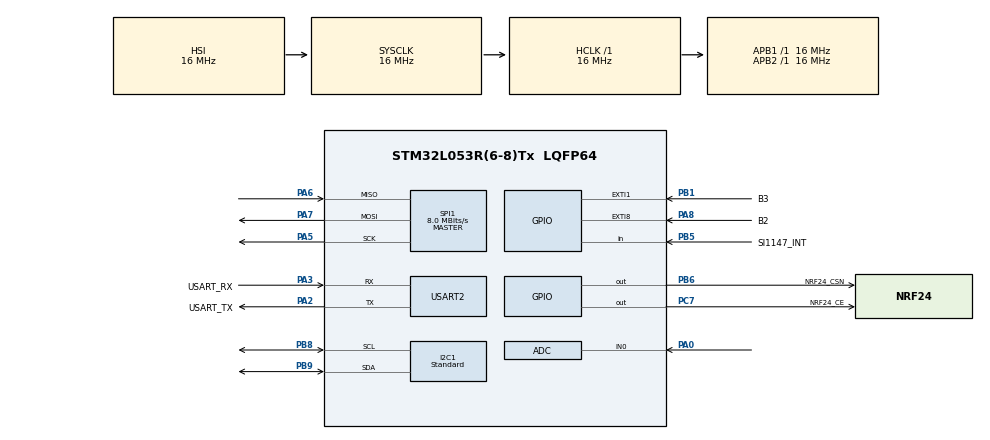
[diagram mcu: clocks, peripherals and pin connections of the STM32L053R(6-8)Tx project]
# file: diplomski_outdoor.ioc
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ADC.ClockPrescaler=ADC_CLOCK_ASYNC_DIV64
ADC.OversamplingMode=ENABLE
ADC.Ratio=ADC_OVERSAMPLING_RATIO_16
ADC.RightBitShift=ADC_RIGHTBITSHIFT_4
I2C1.I2C_Speed_Mode=I2C_Standard
I2C1.Speed=100
I2C1.Timing=0x00303D5B
Mcu.Family=STM32L0
Mcu.Name=STM32L053R(6-8)Tx
Mcu.Package=LQFP64
NVIC.EXTI0_1_IRQn=true\:0\:0\:false\:false\:true\:true\:true
NVIC.EXTI4_15_IRQn=true\:0\:0\:false\:false\:true\:true\:true
NVIC.RTC_IRQn=true\:0\:0\:false\:false\:true\:true\:true
PA0.Signal=SharedAnalog_PA0
PA13.GPIO_Label=TMS
PA13.Mode=Serial_Wire
PA13.Signal=SYS_SWDIO
PA14.GPIO_Label=TCK
PA14.Mode=Serial_Wire
PA14.Signal=SYS_SWCLK
PA2.GPIO_Label=USART_TX
PA2.Mode=Asynchronous
PA2.Signal=USART2_TX
PA3.GPIO_Label=USART_RX
PA3.Mode=Asynchronous
PA3.Signal=USART2_RX
PA5.Mode=Full_Duplex_Master
PA5.Signal=SPI1_SCK
PA6.Mode=Full_Duplex_Master
PA6.Signal=SPI1_MISO
PA7.Mode=Full_Duplex_Master
PA7.Signal=SPI1_MOSI
PA8.GPIO_Label=B2
PA8.GPIO_ModeDefaultEXTI=GPIO_MODE_IT_FALLING
PA8.GPIO_PuPd=GPIO_PULLUP
PA8.Signal=GPXTI8
PB1.GPIO_Label=B3
PB1.GPIO_ModeDefaultEXTI=GPIO_MODE_IT_FALLING
PB1.GPIO_PuPd=GPIO_PULLUP
PB1.Signal=GPXTI1
PB5.GPIO_Label=SI1147_INT
PB5.GPIO_PuPd=GPIO_PULLUP
PB5.Signal=GPIO_Input
PB6.GPIO_Label=NRF24_CSN
PB6.Signal=GPIO_Output
PB8.GPIO_FM8=__NULL
PB8.GPIO_PuPdOD=GPIO_NOPULL
PB8.Mode=I2C
PB8.Signal=I2C1_SCL
PB9.GPIO_PuPdOD=GPIO_NOPULL
PB9.Mode=I2C
PB9.Signal=I2C1_SDA
PC14-OSC32_IN.Mode=LSE-External-Oscillator
PC14-OSC32_IN.Signal=RCC_OSC32_IN
PC15-OSC32_OUT.Mode=LSE-External-Oscillator
PC15-OSC32_OUT.Signal=RCC_OSC32_OUT
PC7.GPIO_Label=NRF24_CE
PC7.Signal=GPIO_Output
PH0-OSC_IN.Signal=RCC_OSC_IN
PH1-OSC_OUT.Signal=RCC_OSC_OUT
ProjectManager.HeapSize=0x200
ProjectManager.StackSize=0x400
ProjectManager.TargetToolchain=TrueSTUDIO
RCC.AHBFreq_Value=16000000
RCC.APB1Freq_Value=16000000
RCC.APB1TimFreq_Value=16000000
RCC.APB2Freq_Value=16000000
RCC.APB2TimFreq_Value=16000000
RCC.HCLKFreq_Value=16000000
RCC.HSE_VALUE=8000000
RCC.HSI16_VALUE=16000000
RCC.HSI48_VALUE=48000000
RCC.HSI_VALUE=16000000
RCC.MSI_VALUE=2097000
RCC.RTCClockSelection=RCC_RTCCLKSOURCE_LSE
RCC.RTCClockSelectionVirtual=RCC_RTCCLKSOURCE_LSE
RCC.SYSCLKFreq_VALUE=16000000
RCC.SYSCLKSource=RCC_SYSCLKSOURCE_HSI
RCC.VCOOutputFreq_Value=48000000
RTC.Alarm-Alarm\ A=RTC_ALARM_A
SH.SharedAnalog_PA0.0=GPIO_Analog
SH.SharedAnalog_PA0.1=ADC_IN0,IN0
SPI1.CalculateBaudRate=8.0 MBits/s
SPI1.Direction=SPI_DIRECTION_2LINES
SPI1.Mode=SPI_MODE_MASTER
SPI1.VirtualType=VM_MASTER
USART2.VirtualMode-Asynchronous=VM_ASYNC
VP_RTC_VS_RTC_Activate.Mode=RTC_Enabled
VP_RTC_VS_RTC_Alarm_A_Intern.Mode=Alarm A
VP_RTC_VS_RTC_Calendar.Mode=RTC_Calendar
board=NUCLEO-L053R8

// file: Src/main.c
/* USER CODE BEGIN Header */
/**
  ******************************************************************************
  * @file           : main.c
  * @brief          : Main program body
  ******************************************************************************
  * @attention
  *
  * <h2><center>&copy; Copyright (c) 2021 STMicroelectronics.
  * All rights reserved.</center></h2>
  *
  * This software component is licensed by ST under BSD 3-Clause license,
  * the "License"; You may not use this file except in compliance with the
  * License. You may obtain a copy of the License at:
  *                        opensource.org/licenses/BSD-3-Clause
  *
  ******************************************************************************
  */
/* USER CODE END Header */

#include "main.h"

/* USER CODE BEGIN Includes */
#include <stdlib.h>
#include <stdio.h>
#include <string.h>

#include "myStructs.h"
#include "glassLCD.h"
#include "SHT21.h"
#include "rtc.h"
#include "sleep.h"
#include "BMP180.h"
#include "Si1147.h"
#include "RF24.h"
#include "communication.h"
/* USER CODE END Includes */

/* USER CODE BEGIN PD */
#define TIME_HOURS() (((__TIME__[0] - '0') * 10) + ((__TIME__[1] - '0')))
#define TIME_MINUTES() (((__TIME__[3] - '0') * 10) + ((__TIME__[4] - '0')))
#define TIME_SECONDS() (((__TIME__[6] - '0') * 10) + ((__TIME__[7] - '0')))

#define NO_DEEP_SLEEP   0
#define DEEP_SLEEP      1
#define BMP180_ERROR    1
#define SHT21_ERROR     2
#define SI1147_ERROR    3
#define AS5600_ERROR    4
#define NRF24_ERROR     5
#define RTC_ERROR       6
/* USER CODE END PD */

ADC_HandleTypeDef hadc;

I2C_HandleTypeDef hi2c1;

RTC_HandleTypeDef hrtc;

SPI_HandleTypeDef hspi1;

UART_HandleTypeDef huart2;

/* USER CODE BEGIN PV */
struct syncStructHandle syncStruct = {SYNC_HEADER, 0, 300, 1800};
struct measruementHandle weatherData;
const char lcdTest[] = {"88888888"};
const char errStr[] = {"ERR-%03d"};
volatile uint32_t interruptButton = 0;
uint32_t sendInterval;
/* USER CODE END PV */

void SystemClock_Config(void);
static void MX_GPIO_Init(void);
static void MX_I2C1_Init(void);
static void MX_RTC_Init(void);
static void MX_SPI1_Init(void);
static void MX_USART2_UART_Init(void);
static void MX_ADC_Init(void);
/* USER CODE BEGIN PFP */
void writeError(uint8_t _e, uint8_t _forceSleep);
void readWeatherData(struct measruementHandle *_w);
/* USER CODE END PFP */

int main(void)
{

  /* MCU Configuration--------------------------------------------------------*/

  /* Reset of all peripherals, Initializes the Flash interface and the Systick. */
  HAL_Init();

  /* Configure the system clock */
  SystemClock_Config();

  /* Initialize all configured peripherals */
  MX_GPIO_Init();
  MX_I2C1_Init();
  MX_RTC_Init();
  MX_SPI1_Init();
  MX_USART2_UART_Init();
  MX_ADC_Init();
  /* USER CODE BEGIN 2 */

  // Init LCD Driver
  glassLCD_Begin();

  // Test LCD (and wait for debugger to connect)
  glassLCD_WriteData(lcdTest);
  glassLCD_SetDot(0b11111111);
  glassLCD_WriteArrow(0b11111111);
  glassLCD_Update();
  HAL_Delay(2000);

  // Init Pressure & Temp sensor
  if (!BMP180_Init()) writeError(BMP180_ERROR, DEEP_SLEEP);

  // Init Humidity & Temp sensor
  if (!SHT21_Init()) writeError(SHT21_ERROR, DEEP_SLEEP);

  // Init Si1147 Sensor for ALS and UV
  if (!Si1147_Init()) writeError(SI1147_ERROR, DEEP_SLEEP);

  RF24_init(NRF24_CE_GPIO_Port, NRF24_CE_Pin, NRF24_CSN_GPIO_Port, NRF24_CSN_Pin);
  if (!RF24_begin()) writeError(NRF24_ERROR, DEEP_SLEEP);

  // Enable UV meas.
  Si1147_SetUV();

  // Set time on RTC and alarm for wake up (FOR TEST ONLY!)
  RTC_SetTime(1609459200);

  // Setup RF communication (speed, RF Channel, RF Power, rtc)
  communication_Setup();

  // Wait for sync signal from indoor station
  if (communication_Sync(&syncStruct))
  {
      RTC_SetTime(syncStruct.myEpoch);
      RTC_SetAlarmEpoch(syncStruct.sendEpoch, RTC_ALARMMASK_DATEWEEKDAY);
      sendInterval = syncStruct.sendEpoch - syncStruct.myEpoch;
  }
  RF24_flush_rx();
  RF24_flush_tx();
  RF24_powerDown();
  /* USER CODE END 2 */

  /* Infinite loop */
  /* USER CODE BEGIN WHILE */
  uint8_t k = 0;
  while (1)
  {
	  char text[40];
	  glassLCD_Clear();
	  if (k == 0)
	  {
		  int16_t _hum = SHT21_ReadHumidity();
		  int16_t _t = SHT21_ReadTemperature();
		  sprintf(text, "%2d%01dC %2d%01d", _t / 100, abs(_t / 10 % 10), _hum / 100, abs(_hum / 10 % 10));
		  glassLCD_SetDot(0b01000010);
		  glassLCD_WriteArrow(0b10000000);
	  }
	  if (k == 1)
	  {
		  uint16_t _p = BMP180_ReadPressure();
		  sprintf(text, "%4d%1d", _p / 10, abs(_p % 10));
		  glassLCD_SetDot(0b00010000);
		  glassLCD_WriteArrow(0b01000000);
	  }
	  if (k == 2)
	  {
		  Si1147_ForceUV();
		  int16_t _uv = Si1147_GetUV();
		  int16_t _vis = Si1147_GetVis();
		  sprintf(text, "%03d %4d", _uv/10, (int)(_vis * 0.282 * 16.5));
		  glassLCD_SetDot(0b01000000);
		  glassLCD_WriteArrow(0b00100000);
	  }
	  if (k == 3)
	  {
		  // Calibrate ADC
		  HAL_ADCEx_Calibration_Start(&hadc, ADC_SINGLE_ENDED);
		  uint32_t rawAdc;
		  double voltage;
		  double current;
		  double energyJ;
		  double energy;
		  // Start ADC conversion
		  HAL_ADC_Start(&hadc);
		  // Wait for conversion to be coplete
		  HAL_ADC_PollForConversion(&hadc, 1000);
		  // Get the ADC value
		  rawAdc = HAL_ADC_GetValue(&hadc);
		  // Calculations for volage, current and energy
		  voltage = (rawAdc / 4095.0 * 3.3) - 0.0795;
		  current = voltage / (220 / 4.7);
		  energy = current / 45E-3 * 1000;
		  energyJ = (1 / 1E4) * energy * 600;
		  sprintf(text, "%2d%1d %4d", (int)(energyJ), (int)(energyJ * 10) % 10, (int)(energy));
		  glassLCD_SetDot(0b01000000);
		  glassLCD_WriteArrow(0b00010000);
	  }
	  glassLCD_WriteData(text);
	  glassLCD_Update();
	  //RTC_SetAlarmEpoch(RTC_GetEpoch() + 60, RTC_ALARMMASK_DATEWEEKDAY);
	  Sleep_LightSleep();
	  if (interruptButton == GPIO_PIN_8)
	  {
	      k++;
	      k = k % 4;
	  }
	  else
	  {
	      struct data1StructHandle data1Struct = {DATA1_HEADER};
	      readWeatherData(&weatherData);

	      data1Struct.hum = weatherData.humidity;
	      data1Struct.temp = weatherData.tempSHT;
	      data1Struct.pres = weatherData.pressure;

	      RF24_powerUp();
	      communication_Setup();

	      uint8_t rfBuffer[32];
	      uint8_t syncOk = 0;
	      uint8_t syncTimeout = 10;
	      uint32_t time1 = HAL_GetTick();
	      while (!syncOk && syncTimeout != 0)
	      {
	          if ((HAL_GetTick() - time1) > 1000)
	          {
	              time1 = HAL_GetTick();

	              char temp[10];
	              sprintf(temp, "SEND %d", syncTimeout--);
	              glassLCD_Clear();
	              glassLCD_WriteData(temp);
	              glassLCD_Update();

	              RF24_write(&data1Struct, sizeof(struct data1StructHandle), 0);
	              if (RF24_isAckPayloadAvailable())
	              {
	                  syncOk = 1;
	                  while (RF24_available(NULL))
	                  {
	                      RF24_read(rfBuffer, 32);
	                  }
	                  if (rfBuffer[0] == SYNC_HEADER)
	                  {
	                      memcpy(&syncStruct, rfBuffer, sizeof(syncStruct));
	                      RTC_SetTime(syncStruct.myEpoch);
	                      RTC_SetAlarmEpoch(syncStruct.sendEpoch, RTC_ALARMMASK_DATEWEEKDAY);
	                      sendInterval = syncStruct.sendEpoch - syncStruct.myEpoch;
	                      syncOk = 1;
	                      char debugTemp[100];
	                      sprintf(debugTemp, "Time: %ld Alarm: %ld RTC: %ld\r\n", syncStruct.myEpoch, syncStruct.sendEpoch, RTC_GetTime());
	                      HAL_UART_Transmit(&huart2, debugTemp, strlen(debugTemp), 1000);
	                  }
	              }
	          }
	      }
	      RF24_flush_rx();
	      RF24_flush_tx();
	      RF24_powerDown();
	      if (syncOk == 0) RTC_SetAlarmEpoch(RTC_GetTime() + sendInterval, RTC_ALARMMASK_DATEWEEKDAY);
	  }
    /* USER CODE END WHILE */

  }
}

void SystemClock_Config(void)
{
  RCC_OscInitTypeDef RCC_OscInitStruct = {0};
  RCC_ClkInitTypeDef RCC_ClkInitStruct = {0};
  RCC_PeriphCLKInitTypeDef PeriphClkInit = {0};

  /** Configure the main internal regulator output voltage
  */
  __HAL_PWR_VOLTAGESCALING_CONFIG(PWR_REGULATOR_VOLTAGE_SCALE1);
  /** Configure LSE Drive Capability
  */
  HAL_PWR_EnableBkUpAccess();
  __HAL_RCC_LSEDRIVE_CONFIG(RCC_LSEDRIVE_LOW);
  /** Initializes the CPU, AHB and APB busses clocks
  */
  RCC_OscInitStruct.OscillatorType = RCC_OSCILLATORTYPE_HSI|RCC_OSCILLATORTYPE_LSE;
  RCC_OscInitStruct.LSEState = RCC_LSE_ON;
  RCC_OscInitStruct.HSIState = RCC_HSI_ON;
  RCC_OscInitStruct.HSICalibrationValue = RCC_HSICALIBRATION_DEFAULT;
  RCC_OscInitStruct.PLL.PLLState = RCC_PLL_NONE;
  if (HAL_RCC_OscConfig(&RCC_OscInitStruct) != HAL_OK)
  {
    Error_Handler();
  }
  /** Initializes the CPU, AHB and APB busses clocks
  */
  RCC_ClkInitStruct.ClockType = RCC_CLOCKTYPE_HCLK|RCC_CLOCKTYPE_SYSCLK
                              |RCC_CLOCKTYPE_PCLK1|RCC_CLOCKTYPE_PCLK2;
  RCC_ClkInitStruct.SYSCLKSource = RCC_SYSCLKSOURCE_HSI;
  RCC_ClkInitStruct.AHBCLKDivider = RCC_SYSCLK_DIV1;
  RCC_ClkInitStruct.APB1CLKDivider = RCC_HCLK_DIV1;
  RCC_ClkInitStruct.APB2CLKDivider = RCC_HCLK_DIV1;

  if (HAL_RCC_ClockConfig(&RCC_ClkInitStruct, FLASH_LATENCY_0) != HAL_OK)
  {
    Error_Handler();
  }
  PeriphClkInit.PeriphClockSelection = RCC_PERIPHCLK_USART2|RCC_PERIPHCLK_I2C1
                              |RCC_PERIPHCLK_RTC;
  PeriphClkInit.Usart2ClockSelection = RCC_USART2CLKSOURCE_PCLK1;
  PeriphClkInit.I2c1ClockSelection = RCC_I2C1CLKSOURCE_PCLK1;
  PeriphClkInit.RTCClockSelection = RCC_RTCCLKSOURCE_LSE;
  if (HAL_RCCEx_PeriphCLKConfig(&PeriphClkInit) != HAL_OK)
  {
    Error_Handler();
  }
}

static void MX_ADC_Init(void)
{

  ADC_ChannelConfTypeDef sConfig = {0};

  /** Configure the global features of the ADC (Clock, Resolution, Data Alignment and number of conversion)
  */
  hadc.Instance = ADC1;
  hadc.Init.OversamplingMode = ENABLE;
  hadc.Init.Oversample.Ratio = ADC_OVERSAMPLING_RATIO_16;
  hadc.Init.Oversample.RightBitShift = ADC_RIGHTBITSHIFT_4;
  hadc.Init.Oversample.TriggeredMode = ADC_TRIGGEREDMODE_SINGLE_TRIGGER;
  hadc.Init.ClockPrescaler = ADC_CLOCK_ASYNC_DIV64;
  hadc.Init.Resolution = ADC_RESOLUTION_12B;
  hadc.Init.SamplingTime = ADC_SAMPLETIME_1CYCLE_5;
  hadc.Init.ScanConvMode = ADC_SCAN_DIRECTION_FORWARD;
  hadc.Init.DataAlign = ADC_DATAALIGN_RIGHT;
  hadc.Init.ContinuousConvMode = DISABLE;
  hadc.Init.DiscontinuousConvMode = DISABLE;
  hadc.Init.ExternalTrigConvEdge = ADC_EXTERNALTRIGCONVEDGE_NONE;
  hadc.Init.ExternalTrigConv = ADC_SOFTWARE_START;
  hadc.Init.DMAContinuousRequests = DISABLE;
  hadc.Init.EOCSelection = ADC_EOC_SINGLE_CONV;
  hadc.Init.Overrun = ADC_OVR_DATA_PRESERVED;
  hadc.Init.LowPowerAutoWait = DISABLE;
  hadc.Init.LowPowerFrequencyMode = DISABLE;
  hadc.Init.LowPowerAutoPowerOff = DISABLE;
  if (HAL_ADC_Init(&hadc) != HAL_OK)
  {
    Error_Handler();
  }
  /** Configure for the selected ADC regular channel to be converted.
  */
  sConfig.Channel = ADC_CHANNEL_0;
  sConfig.Rank = ADC_RANK_CHANNEL_NUMBER;
  if (HAL_ADC_ConfigChannel(&hadc, &sConfig) != HAL_OK)
  {
    Error_Handler();
  }

}

static void MX_I2C1_Init(void)
{

  hi2c1.Instance = I2C1;
  hi2c1.Init.Timing = 0x00303D5B;
  hi2c1.Init.OwnAddress1 = 0;
  hi2c1.Init.AddressingMode = I2C_ADDRESSINGMODE_7BIT;
  hi2c1.Init.DualAddressMode = I2C_DUALADDRESS_DISABLE;
  hi2c1.Init.OwnAddress2 = 0;
  hi2c1.Init.OwnAddress2Masks = I2C_OA2_NOMASK;
  hi2c1.Init.GeneralCallMode = I2C_GENERALCALL_DISABLE;
  hi2c1.Init.NoStretchMode = I2C_NOSTRETCH_DISABLE;
  if (HAL_I2C_Init(&hi2c1) != HAL_OK)
  {
    Error_Handler();
  }
  /** Configure Analogue filter
  */
  if (HAL_I2CEx_ConfigAnalogFilter(&hi2c1, I2C_ANALOGFILTER_ENABLE) != HAL_OK)
  {
    Error_Handler();
  }
  /** Configure Digital filter
  */
  if (HAL_I2CEx_ConfigDigitalFilter(&hi2c1, 0) != HAL_OK)
  {
    Error_Handler();
  }

}

static void MX_RTC_Init(void)
{

  RTC_TimeTypeDef sTime = {0};
  RTC_DateTypeDef sDate = {0};
  RTC_AlarmTypeDef sAlarm = {0};

  /** Initialize RTC Only
  */
  hrtc.Instance = RTC;
  hrtc.Init.HourFormat = RTC_HOURFORMAT_24;
  hrtc.Init.AsynchPrediv = 127;
  hrtc.Init.SynchPrediv = 255;
  hrtc.Init.OutPut = RTC_OUTPUT_DISABLE;
  hrtc.Init.OutPutRemap = RTC_OUTPUT_REMAP_NONE;
  hrtc.Init.OutPutPolarity = RTC_OUTPUT_POLARITY_HIGH;
  hrtc.Init.OutPutType = RTC_OUTPUT_TYPE_OPENDRAIN;
  if (HAL_RTC_Init(&hrtc) != HAL_OK)
  {
    Error_Handler();
  }

  /** Initialize RTC and set the Time and Date
  */
  sTime.Hours = 0x0;
  sTime.Minutes = 0x0;
  sTime.Seconds = 0x0;
  sTime.DayLightSaving = RTC_DAYLIGHTSAVING_NONE;
  sTime.StoreOperation = RTC_STOREOPERATION_RESET;
  if (HAL_RTC_SetTime(&hrtc, &sTime, RTC_FORMAT_BCD) != HAL_OK)
  {
    Error_Handler();
  }
  sDate.WeekDay = RTC_WEEKDAY_MONDAY;
  sDate.Month = RTC_MONTH_JANUARY;
  sDate.Date = 0x1;
  sDate.Year = 0x0;

  if (HAL_RTC_SetDate(&hrtc, &sDate, RTC_FORMAT_BCD) != HAL_OK)
  {
    Error_Handler();
  }
  /** Enable the Alarm A
  */
  sAlarm.AlarmTime.Hours = 0x0;
  sAlarm.AlarmTime.Minutes = 0x0;
  sAlarm.AlarmTime.Seconds = 0x0;
  sAlarm.AlarmTime.SubSeconds = 0x0;
  sAlarm.AlarmTime.DayLightSaving = RTC_DAYLIGHTSAVING_NONE;
  sAlarm.AlarmTime.StoreOperation = RTC_STOREOPERATION_RESET;
  sAlarm.AlarmMask = RTC_ALARMMASK_NONE;
  sAlarm.AlarmSubSecondMask = RTC_ALARMSUBSECONDMASK_ALL;
  sAlarm.AlarmDateWeekDaySel = RTC_ALARMDATEWEEKDAYSEL_DATE;
  sAlarm.AlarmDateWeekDay = 0x1;
  sAlarm.Alarm = RTC_ALARM_A;
  if (HAL_RTC_SetAlarm_IT(&hrtc, &sAlarm, RTC_FORMAT_BCD) != HAL_OK)
  {
    Error_Handler();
  }

}

static void MX_SPI1_Init(void)
{

  /* SPI1 parameter configuration*/
  hspi1.Instance = SPI1;
  hspi1.Init.Mode = SPI_MODE_MASTER;
  hspi1.Init.Direction = SPI_DIRECTION_2LINES;
  hspi1.Init.DataSize = SPI_DATASIZE_8BIT;
  hspi1.Init.CLKPolarity = SPI_POLARITY_LOW;
  hspi1.Init.CLKPhase = SPI_PHASE_1EDGE;
  hspi1.Init.NSS = SPI_NSS_SOFT;
  hspi1.Init.BaudRatePrescaler = SPI_BAUDRATEPRESCALER_2;
  hspi1.Init.FirstBit = SPI_FIRSTBIT_MSB;
  hspi1.Init.TIMode = SPI_TIMODE_DISABLE;
  hspi1.Init.CRCCalculation = SPI_CRCCALCULATION_DISABLE;
  hspi1.Init.CRCPolynomial = 7;
  if (HAL_SPI_Init(&hspi1) != HAL_OK)
  {
    Error_Handler();
  }

}

static void MX_USART2_UART_Init(void)
{

  huart2.Instance = USART2;
  huart2.Init.BaudRate = 115200;
  huart2.Init.WordLength = UART_WORDLENGTH_8B;
  huart2.Init.StopBits = UART_STOPBITS_1;
  huart2.Init.Parity = UART_PARITY_NONE;
  huart2.Init.Mode = UART_MODE_TX_RX;
  huart2.Init.HwFlowCtl = UART_HWCONTROL_NONE;
  huart2.Init.OverSampling = UART_OVERSAMPLING_16;
  huart2.Init.OneBitSampling = UART_ONE_BIT_SAMPLE_DISABLE;
  huart2.AdvancedInit.AdvFeatureInit = UART_ADVFEATURE_NO_INIT;
  if (HAL_UART_Init(&huart2) != HAL_OK)
  {
    Error_Handler();
  }

}

static void MX_GPIO_Init(void)
{
  GPIO_InitTypeDef GPIO_InitStruct = {0};

  /* GPIO Ports Clock Enable */
  __HAL_RCC_GPIOC_CLK_ENABLE();
  __HAL_RCC_GPIOH_CLK_ENABLE();
  __HAL_RCC_GPIOA_CLK_ENABLE();
  __HAL_RCC_GPIOB_CLK_ENABLE();

  /*Configure GPIO pin Output Level */
  HAL_GPIO_WritePin(NRF24_CE_GPIO_Port, NRF24_CE_Pin, GPIO_PIN_RESET);

  /*Configure GPIO pin Output Level */
  HAL_GPIO_WritePin(NRF24_CSN_GPIO_Port, NRF24_CSN_Pin, GPIO_PIN_RESET);

  /*Configure GPIO pin : PA0 */
  GPIO_InitStruct.Pin = GPIO_PIN_0;
  GPIO_InitStruct.Mode = GPIO_MODE_ANALOG;
  GPIO_InitStruct.Pull = GPIO_NOPULL;
  HAL_GPIO_Init(GPIOA, &GPIO_InitStruct);

  /*Configure GPIO pin : B3_Pin */
  GPIO_InitStruct.Pin = B3_Pin;
  GPIO_InitStruct.Mode = GPIO_MODE_IT_FALLING;
  GPIO_InitStruct.Pull = GPIO_PULLUP;
  HAL_GPIO_Init(B3_GPIO_Port, &GPIO_InitStruct);

  /*Configure GPIO pin : NRF24_CE_Pin */
  GPIO_InitStruct.Pin = NRF24_CE_Pin;
  GPIO_InitStruct.Mode = GPIO_MODE_OUTPUT_PP;
  GPIO_InitStruct.Pull = GPIO_NOPULL;
  GPIO_InitStruct.Speed = GPIO_SPEED_FREQ_LOW;
  HAL_GPIO_Init(NRF24_CE_GPIO_Port, &GPIO_InitStruct);

  /*Configure GPIO pin : B2_Pin */
  GPIO_InitStruct.Pin = B2_Pin;
  GPIO_InitStruct.Mode = GPIO_MODE_IT_FALLING;
  GPIO_InitStruct.Pull = GPIO_PULLUP;
  HAL_GPIO_Init(B2_GPIO_Port, &GPIO_InitStruct);

  /*Configure GPIO pin : SI1147_INT_Pin */
  GPIO_InitStruct.Pin = SI1147_INT_Pin;
  GPIO_InitStruct.Mode = GPIO_MODE_INPUT;
  GPIO_InitStruct.Pull = GPIO_PULLUP;
  HAL_GPIO_Init(SI1147_INT_GPIO_Port, &GPIO_InitStruct);

  /*Configure GPIO pin : NRF24_CSN_Pin */
  GPIO_InitStruct.Pin = NRF24_CSN_Pin;
  GPIO_InitStruct.Mode = GPIO_MODE_OUTPUT_PP;
  GPIO_InitStruct.Pull = GPIO_NOPULL;
  GPIO_InitStruct.Speed = GPIO_SPEED_FREQ_LOW;
  HAL_GPIO_Init(NRF24_CSN_GPIO_Port, &GPIO_InitStruct);

  /* EXTI interrupt init*/
  HAL_NVIC_SetPriority(EXTI0_1_IRQn, 0, 0);
  HAL_NVIC_EnableIRQ(EXTI0_1_IRQn);

  HAL_NVIC_SetPriority(EXTI4_15_IRQn, 0, 0);
  HAL_NVIC_EnableIRQ(EXTI4_15_IRQn);

}

/* USER CODE BEGIN 4 */
void writeError(uint8_t _e, uint8_t _forceSleep)
{
  char _c[9];
  sprintf(_c, errStr, _e);
  glassLCD_Clear();
  glassLCD_WriteData(_c);
  glassLCD_Update();
  HAL_Delay(50);
  if (_forceSleep) HAL_PWR_EnterSTANDBYMode();
}

void readWeatherData(struct measruementHandle *_w)
{
    _w->humidity = SHT21_ReadHumidity() / 100.0;
    _w->tempSHT = SHT21_ReadTemperature() / 100.0;
    _w->pressure = BMP180_ReadPressure() / 10.0;
}

void HAL_GPIO_EXTI_Callback(uint16_t GPIO_Pin)
{
    interruptButton = GPIO_Pin;
}

/* USER CODE END 4 */

void Error_Handler(void)
{
}

/************************ (C) COPYRIGHT STMicroelectronics *****END OF FILE****/
